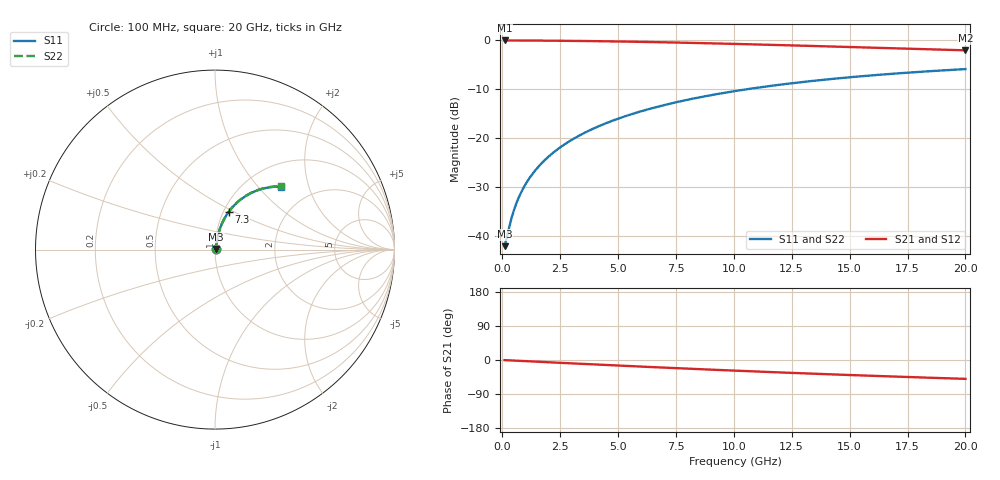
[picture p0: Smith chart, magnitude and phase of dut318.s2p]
! Touchstone file exported from HFSS 2024.1.0
!  File:  C:/UserFiles/LocalFiles/RDL_TSV_Batchsim/temp_RDL_bottom_318_1779610933.aedt
!  Generated:  04:24:45 PM May 24, 2026
!  Design:  RDL_bottom
!  Project:  temp_RDL_bottom_318_1779610933
!  Setup:  Setup1
!  Solution:  Sweep
! Variables:
!  dtsv = 10.80580581um
!  hbump = 3um
!  htsv = 91.66um
!  ldown = 696.41um
!  lrdl = 100um
!  p = 40
!  p1 = 41.72um
!  rhole = 1um
!  t = 450um
!  tdown = 2.78um
!  trdl = 3.915915916um
!  wdown = 12.52um
!  wrdl = 20um
# GHz S MA R 50.000000
! Terminal data exported
! Port[1] = RDL1_T1
! Port[2] = RDL1_T2
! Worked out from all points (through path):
!   200 points, 100 MHz to 20 GHz, reference 50 ohm
!   highest |S21| = -0.06 dB at 100 MHz (marker M1); lowest = -2.1 dB at 20 GHz (marker M2)
!   group delay of S21, straight-line fit = 6.92 ps
!   lowest |S11| = -42.1 dB at 100 MHz (marker M3), VSWR 1.02, Z = 50.7 + j0.34 ohm
!   |S11| at or under -10 dB: start of sweep to 10.6 GHz
!   |S22| runs from -42.1 to -5.9 dB; largest |S21 - S12| = 3.2e-15
!   S11 on the Smith chart (normalised r, x): 100 MHz: 1.01, +0.01; 7.3 GHz: 1.06, +0.47; 20 GHz: 1.42, +1.33
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0.1  0.007868 25.2  0.9929 -0.3  0.9929 -0.3  0.007868 25.2
! Gamma 0 0 0 0
! Port Impedance 50 0 50 0
0.3  0.01244 53.5  0.9926 -0.9  0.9926 -0.9  0.01244 53.5
0.4  0.0153 60.1  0.9924 -1.2  0.9924 -1.2  0.0153 60.1
0.6  0.02131 67.5  0.992 -1.8  0.992 -1.8  0.02131 67.5
0.7  0.02437 69.7  0.9918 -2.1  0.9918 -2.1  0.02437 69.7
0.9  0.03052 72.6  0.9913 -2.7  0.9913 -2.7  0.03052 72.6
1.2  0.0398 75.2  0.9905 -3.6  0.9905 -3.6  0.03979 75.2
1.4  0.046 76.2  0.9899 -4.2  0.9899 -4.2  0.046 76.2
1.7  0.05534 77.1  0.9889 -5.1  0.9889 -5.1  0.05534 77.1
2.2  0.07095 77.7  0.9871 -6.6  0.9871 -6.6  0.07095 77.8
2.8  0.0897 77.6  0.9843 -8.3  0.9843 -8.3  0.0897 77.7
3.5  0.1115 77.0  0.9804 -10.3  0.9804 -10.3  0.1115 77.0
4.2  0.1332 75.9  0.9757 -12.4  0.9757 -12.4  0.1332 76.0
5  0.1577 74.5  0.9696 -14.6  0.9696 -14.6  0.1578 74.6
5.9  0.1849 72.8  0.9616 -17.2  0.9616 -17.2  0.185 72.9
6.8  0.2116 70.9  0.9528 -19.6  0.9528 -19.6  0.2117 71.0
7.3  0.2261 69.8  0.9476 -21.0  0.9476 -21.0  0.2262 69.9
8.6  0.2629 67.0  0.9331 -24.4  0.9331 -24.4  0.2631 67.1
10.1  0.3033 63.7  0.9149 -28.2  0.9149 -28.2  0.3035 63.8
13.4  0.3834 56.6  0.8722 -36.1  0.8722 -36.1  0.3838 56.7
16.7  0.4509 49.9  0.8288 -43.2  0.8288 -43.2  0.4515 50.1
20  0.5063 43.7  0.7872 -49.8  0.7872 -49.8  0.5071 43.9
